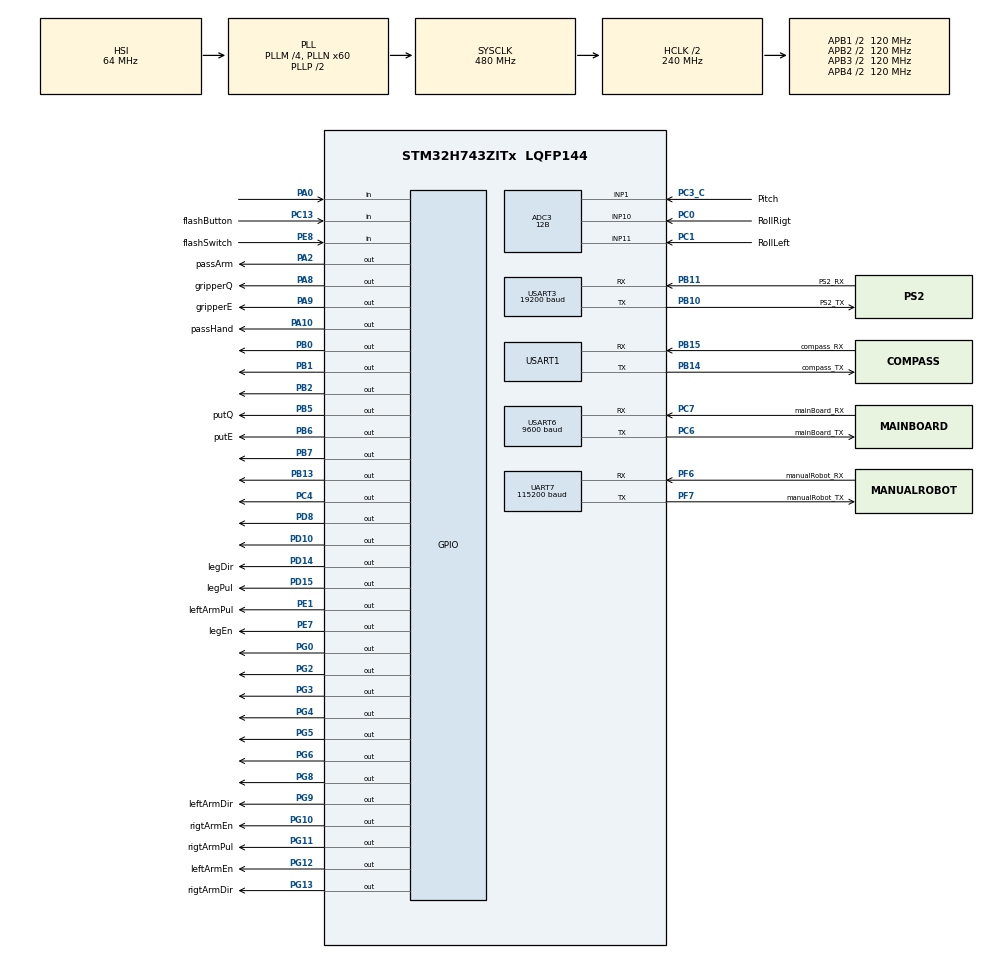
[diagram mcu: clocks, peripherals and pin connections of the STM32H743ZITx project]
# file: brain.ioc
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ADC3.Channel-0\#ChannelRegularConversion=ADC_CHANNEL_1
ADC3.Channel-1\#ChannelRegularConversion=ADC_CHANNEL_10
ADC3.Channel-2\#ChannelRegularConversion=ADC_CHANNEL_11
ADC3.ClockPrescaler=ADC_CLOCK_SYNC_PCLK_DIV4
ADC3.ContinuousConvMode=ENABLE
ADC3.ConversionDataManagement=ADC_CONVERSIONDATA_DMA_CIRCULAR
ADC3.NbrOfConversion=3
ADC3.NbrOfConversionFlag=1
ADC3.OffsetNumber-0\#ChannelRegularConversion=ADC_OFFSET_NONE
ADC3.OffsetNumber-1\#ChannelRegularConversion=ADC_OFFSET_NONE
ADC3.OffsetNumber-2\#ChannelRegularConversion=ADC_OFFSET_NONE
ADC3.Rank-0\#ChannelRegularConversion=1
ADC3.Rank-1\#ChannelRegularConversion=2
ADC3.Rank-2\#ChannelRegularConversion=3
ADC3.Resolution=ADC_RESOLUTION_12B
ADC3.SamplingTime-0\#ChannelRegularConversion=ADC_SAMPLETIME_387CYCLES_5
ADC3.SamplingTime-1\#ChannelRegularConversion=ADC_SAMPLETIME_387CYCLES_5
ADC3.SamplingTime-2\#ChannelRegularConversion=ADC_SAMPLETIME_387CYCLES_5
Dma.ADC3.0.Direction=DMA_PERIPH_TO_MEMORY
Dma.ADC3.0.EventEnable=DISABLE
Dma.ADC3.0.FIFOMode=DMA_FIFOMODE_DISABLE
Dma.ADC3.0.Instance=DMA1_Stream2
Dma.ADC3.0.MemDataAlignment=DMA_MDATAALIGN_HALFWORD
Dma.ADC3.0.MemInc=DMA_MINC_ENABLE
Dma.ADC3.0.Mode=DMA_CIRCULAR
Dma.ADC3.0.PeriphDataAlignment=DMA_PDATAALIGN_HALFWORD
Dma.ADC3.0.PeriphInc=DMA_PINC_DISABLE
Dma.ADC3.0.Polarity=HAL_DMAMUX_REQ_GEN_RISING
Dma.ADC3.0.Priority=DMA_PRIORITY_LOW
Dma.ADC3.0.RequestNumber=1
Dma.ADC3.0.SignalID=NONE
Dma.ADC3.0.SyncEnable=DISABLE
Dma.ADC3.0.SyncPolarity=HAL_DMAMUX_SYNC_NO_EVENT
Dma.ADC3.0.SyncRequestNumber=1
Dma.ADC3.0.SyncSignalID=NONE
Dma.Request0=ADC3
Dma.Request1=USART3_RX
Dma.Request2=USART1_RX
Dma.Request3=UART7_RX
Dma.UART7_RX.3.Direction=DMA_PERIPH_TO_MEMORY
Dma.UART7_RX.3.EventEnable=DISABLE
Dma.UART7_RX.3.FIFOMode=DMA_FIFOMODE_DISABLE
Dma.UART7_RX.3.Instance=DMA1_Stream0
Dma.UART7_RX.3.MemDataAlignment=DMA_MDATAALIGN_BYTE
Dma.UART7_RX.3.MemInc=DMA_MINC_ENABLE
Dma.UART7_RX.3.Mode=DMA_CIRCULAR
Dma.UART7_RX.3.PeriphDataAlignment=DMA_PDATAALIGN_BYTE
Dma.UART7_RX.3.PeriphInc=DMA_PINC_DISABLE
Dma.UART7_RX.3.Polarity=HAL_DMAMUX_REQ_GEN_RISING
Dma.UART7_RX.3.Priority=DMA_PRIORITY_LOW
Dma.UART7_RX.3.RequestNumber=1
Dma.UART7_RX.3.SignalID=NONE
Dma.UART7_RX.3.SyncEnable=DISABLE
Dma.UART7_RX.3.SyncPolarity=HAL_DMAMUX_SYNC_NO_EVENT
Dma.UART7_RX.3.SyncRequestNumber=1
Dma.UART7_RX.3.SyncSignalID=NONE
Dma.USART1_RX.2.Direction=DMA_PERIPH_TO_MEMORY
Dma.USART1_RX.2.EventEnable=DISABLE
Dma.USART1_RX.2.FIFOMode=DMA_FIFOMODE_DISABLE
Dma.USART1_RX.2.Instance=DMA1_Stream3
Dma.USART1_RX.2.MemDataAlignment=DMA_MDATAALIGN_BYTE
Dma.USART1_RX.2.MemInc=DMA_MINC_ENABLE
Dma.USART1_RX.2.Mode=DMA_CIRCULAR
Dma.USART1_RX.2.PeriphDataAlignment=DMA_PDATAALIGN_BYTE
Dma.USART1_RX.2.PeriphInc=DMA_PINC_DISABLE
Dma.USART1_RX.2.Polarity=HAL_DMAMUX_REQ_GEN_RISING
Dma.USART1_RX.2.Priority=DMA_PRIORITY_LOW
Dma.USART1_RX.2.RequestNumber=1
Dma.USART1_RX.2.SignalID=NONE
Dma.USART1_RX.2.SyncEnable=DISABLE
Dma.USART1_RX.2.SyncPolarity=HAL_DMAMUX_SYNC_NO_EVENT
Dma.USART1_RX.2.SyncRequestNumber=1
Dma.USART1_RX.2.SyncSignalID=NONE
Dma.USART3_RX.1.Direction=DMA_PERIPH_TO_MEMORY
Dma.USART3_RX.1.EventEnable=DISABLE
Dma.USART3_RX.1.FIFOMode=DMA_FIFOMODE_DISABLE
Dma.USART3_RX.1.Instance=DMA2_Stream2
Dma.USART3_RX.1.MemDataAlignment=DMA_MDATAALIGN_BYTE
Dma.USART3_RX.1.MemInc=DMA_MINC_ENABLE
Dma.USART3_RX.1.Mode=DMA_CIRCULAR
Dma.USART3_RX.1.PeriphDataAlignment=DMA_PDATAALIGN_BYTE
Dma.USART3_RX.1.PeriphInc=DMA_PINC_DISABLE
Dma.USART3_RX.1.Polarity=HAL_DMAMUX_REQ_GEN_RISING
Dma.USART3_RX.1.Priority=DMA_PRIORITY_LOW
Dma.USART3_RX.1.RequestNumber=1
Dma.USART3_RX.1.SignalID=NONE
Dma.USART3_RX.1.SyncEnable=DISABLE
Dma.USART3_RX.1.SyncPolarity=HAL_DMAMUX_SYNC_NO_EVENT
Dma.USART3_RX.1.SyncRequestNumber=1
Dma.USART3_RX.1.SyncSignalID=NONE
Mcu.Family=STM32H7
Mcu.Name=STM32H743ZITx
Mcu.Package=LQFP144
NVIC.DMA1_Stream0_IRQn=true\:0\:0\:false\:false\:true\:false\:true
NVIC.DMA1_Stream2_IRQn=true\:0\:0\:false\:false\:true\:false\:true
NVIC.DMA1_Stream3_IRQn=true\:0\:0\:false\:false\:true\:false\:true
NVIC.DMA2_Stream2_IRQn=true\:0\:0\:false\:false\:true\:false\:true
NVIC.PriorityGroup=NVIC_PRIORITYGROUP_4
NVIC.TIM7_IRQn=true\:0\:0\:false\:false\:true\:true\:true
NVIC.UART7_IRQn=true\:4\:0\:true\:false\:true\:true\:true
NVIC.USART1_IRQn=true\:1\:0\:true\:false\:true\:true\:true
NVIC.USART6_IRQn=true\:2\:0\:true\:false\:true\:true\:true
PA0.GPIO_PuPd=GPIO_PULLUP
PA0.Signal=GPIO_Input
PA10.GPIO_Label=passHand
PA10.Signal=GPIO_Output
PA2.GPIO_Label=passArm
PA2.Signal=GPIO_Output
PA8.GPIO_Label=gripperQ
PA8.Signal=GPIO_Output
PA9.GPIO_Label=gripperE
PA9.Signal=GPIO_Output
PB0.GPIO_PuPd=GPIO_NOPULL
PB0.Signal=GPIO_Output
PB1.Signal=GPIO_Output
PB10.GPIO_Label=PS2_TX
PB10.Mode=Asynchronous
PB10.Signal=USART3_TX
PB11.GPIO_Label=PS2_RX
PB11.Mode=Asynchronous
PB11.Signal=USART3_RX
PB13.Signal=GPIO_Output
PB14.GPIO_Label=compass_TX
PB14.Mode=Asynchronous
PB14.Signal=USART1_TX
PB15.GPIO_Label=compass_RX
PB15.Mode=Asynchronous
PB15.Signal=USART1_RX
PB2.Signal=GPIO_Output
PB5.GPIO_Label=putQ
PB5.Signal=GPIO_Output
PB6.GPIO_Label=putE
PB6.Signal=GPIO_Output
PB7.Signal=GPIO_Output
PC0.GPIO_Label=RollRigt
PC0.Signal=ADCx_INP10
PC1.GPIO_Label=RollLeft
PC1.Signal=ADCx_INP11
PC13.GPIO_Label=flashButton
PC13.GPIO_PuPd=GPIO_PULLUP
PC13.Signal=GPIO_Input
PC3_C.GPIO_Label=Pitch
PC3_C.Mode=IN1-Single-Ended
PC3_C.Signal=ADC3_INP1
PC4.Signal=GPIO_Output
PC6.GPIO_Label=mainBoard_TX
PC6.Mode=Asynchronous
PC6.Signal=USART6_TX
PC7.GPIO_Label=mainBoard_RX
PC7.Mode=Asynchronous
PC7.Signal=USART6_RX
PD10.Signal=GPIO_Output
PD14.GPIO_Label=legDir
PD14.Signal=GPIO_Output
PD15.GPIO_Label=legPul
PD15.GPIO_Speed=GPIO_SPEED_FREQ_VERY_HIGH
PD15.Signal=GPIO_Output
PD8.Signal=GPIO_Output
PE1.GPIO_Label=leftArmPul
PE1.GPIO_Speed=GPIO_SPEED_FREQ_VERY_HIGH
PE1.Signal=GPIO_Output
PE7.GPIO_Label=legEn
PE7.Signal=GPIO_Output
PE8.GPIO_Label=flashSwitch
PE8.GPIO_PuPd=GPIO_PULLUP
PE8.Signal=GPIO_Input
PF6.GPIO_Label=manualRobot_RX
PF6.Mode=Asynchronous
PF6.Signal=UART7_RX
PF7.GPIO_Label=manualRobot_TX
PF7.Mode=Asynchronous
PF7.Signal=UART7_TX
PG0.GPIO_ModeDefaultOutputPP=GPIO_MODE_OUTPUT_PP
PG0.GPIO_PuPd=GPIO_PULLUP
PG0.Signal=GPIO_Output
PG10.GPIO_Label=rigtArmEn
PG10.Signal=GPIO_Output
PG11.GPIO_Label=rigtArmPul
PG11.Signal=GPIO_Output
PG12.GPIO_Label=leftArmEn
PG12.Signal=GPIO_Output
PG13.GPIO_Label=rigtArmDir
PG13.GPIO_Speed=GPIO_SPEED_FREQ_LOW
PG13.Signal=GPIO_Output
PG2.GPIO_ModeDefaultOutputPP=GPIO_MODE_OUTPUT_PP
PG2.GPIO_PuPd=GPIO_PULLUP
PG2.Signal=GPIO_Output
PG3.GPIO_ModeDefaultOutputPP=GPIO_MODE_OUTPUT_PP
PG3.GPIO_PuPd=GPIO_PULLUP
PG3.Signal=GPIO_Output
PG4.GPIO_Speed=GPIO_SPEED_FREQ_VERY_HIGH
PG4.Signal=GPIO_Output
PG5.GPIO_Speed=GPIO_SPEED_FREQ_VERY_HIGH
PG5.Signal=GPIO_Output
PG6.GPIO_Speed=GPIO_SPEED_FREQ_VERY_HIGH
PG6.Signal=GPIO_Output
PG8.GPIO_Speed=GPIO_SPEED_FREQ_VERY_HIGH
PG8.Signal=GPIO_Output
PG9.GPIO_Label=leftArmDir
PG9.Signal=GPIO_Output
ProjectManager.HeapSize=0x200
ProjectManager.StackSize=0x400
ProjectManager.TargetToolchain=STM32CubeIDE
RCC.ADCFreq_Value=150000000
RCC.APB1Freq_Value=120000000
RCC.APB2Freq_Value=120000000
RCC.APB3Freq_Value=120000000
RCC.APB4Freq_Value=120000000
RCC.CortexFreq_Value=480000000
RCC.D1PPRE=RCC_APB3_DIV2
RCC.D2PPRE1=RCC_APB1_DIV2
RCC.D2PPRE2=RCC_APB2_DIV2
RCC.D3PPRE=RCC_APB4_DIV2
RCC.DIVM1=4
RCC.DIVM2=4
RCC.DIVN1=60
RCC.DIVN2=9
RCC.DIVP2=1
RCC.HCLKFreq_Value=240000000
RCC.HPRE=RCC_HCLK_DIV2
RCC.PLL2FRACN=3072
RCC.PLL3FRACN=0
RCC.PLLFRACN=0
RCC.SYSCLKFreq_VALUE=480000000
RCC.SYSCLKSource=RCC_SYSCLKSOURCE_PLLCLK
RCC.USBFreq_Value=480000000
SH.ADCx_INP10.0=ADC3_INP10,IN10-Single-Ended
SH.ADCx_INP11.0=ADC3_INP11,IN11-Single-Ended
TIM7.Period=999
TIM7.Prescaler=2399
UART7.BaudRate=115200
USART1.VirtualMode-Asynchronous=VM_ASYNC
USART3.BaudRate=19200
USART3.VirtualMode-Asynchronous=VM_ASYNC
USART6.BaudRate=9600
USART6.VirtualMode-Asynchronous=VM_ASYNC
VP_TIM7_VS_ClockSourceINT.Mode=Enable_Timer
board=custom

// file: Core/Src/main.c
/* USER CODE BEGIN Header */
/**
  ******************************************************************************
  * @file           : main.c
  * @brief          : Main program body
  ******************************************************************************
  * @attention
  *
  * <h2><center>&copy; Copyright (c) 2020 STMicroelectronics.
  * All rights reserved.</center></h2>
  *
  * This software component is licensed by ST under BSD 3-Clause license,
  * the "License"; You may not use this file except in compliance with the
  * License. You may obtain a copy of the License at:
  *                        opensource.org/licenses/BSD-3-Clause
  *
  ******************************************************************************
  */
//#define BLUEFIELD
#define REDFIELD
/* USER CODE END Header */

#include "main.h"

/* USER CODE BEGIN Includes */
#include <stdlib.h>
/* USER CODE END Includes */

ADC_HandleTypeDef hadc3;
DMA_HandleTypeDef hdma_adc3;

TIM_HandleTypeDef htim7;

UART_HandleTypeDef huart7;
UART_HandleTypeDef huart1;
UART_HandleTypeDef huart3;
UART_HandleTypeDef huart6;
DMA_HandleTypeDef hdma_uart7_rx;
DMA_HandleTypeDef hdma_usart1_rx;
DMA_HandleTypeDef hdma_usart3_rx;

void SystemClock_Config(void);
static void MX_GPIO_Init(void);
static void MX_DMA_Init(void);
static void MX_ADC3_Init(void);
static void MX_USART1_UART_Init(void);
static void MX_USART3_UART_Init(void);
static void MX_TIM7_Init(void);
static void MX_UART7_Init(void);
static void MX_USART6_UART_Init(void);

/* USER CODE BEGIN 0 */
#include "DNL_SemiAuto_Brain_DebugVariable.h"
#include "DNL_SemiAuto_Brain_DelayUs.h"
#include "DNL_SemiAuto_Brain_UART.h"
#include "DNL_SemiAuto_Brain_LCD.h"
#include "DNL_SemiAuto_Brain_ADC.h"
#include "DNL_SemiAuto_Brain_PID.h"
#include "DNL_SemiAuto_Brain_Position.h"
#include "DNL_SemiAuto_Brain_Leg.h"
#include "DNL_SemiAuto_Brain_FLASH.h"
#include "DNL_SemiAuto_Brain_Cylinder.h"
#include "DNL_SemiAuto_Brain_Sequence.h"

#include "DNL_Callback.h"
/* USER CODE END 0 */

int main(void)
{

  /* MCU Configuration--------------------------------------------------------*/

  /* Reset of all peripherals, Initializes the Flash interface and the Systick. */
  HAL_Init();

  /* Configure the system clock */
  SystemClock_Config();

  /* Initialize all configured peripherals */
  MX_GPIO_Init();
  MX_DMA_Init();
  MX_ADC3_Init();
  MX_USART1_UART_Init();
  MX_USART3_UART_Init();
  MX_TIM7_Init();
  MX_UART7_Init();
  MX_USART6_UART_Init();
  /* USER CODE BEGIN 2 */

  delayUs_Init();
  peripheralUART_Init();
  peripheralADC_Init();
  positionControl_Init();
  cylinder_Init();
  ST7920_Init();
  brake();
  freeMotor();
  compassReset();
  HAL_GPIO_WritePin(GPIOB, GPIO_PIN_0, GPIO_PIN_RESET);
  HAL_GPIO_WritePin(GPIOE, GPIO_PIN_1, GPIO_PIN_SET);

  if(HAL_GPIO_ReadPin(flashSwitch_GPIO_Port, flashSwitch_Pin) == 0)	//nếu như gạt phải khởi động
  {
	  ST7920_SendString(0,0, "SAMPLE:");
	  getSample();
	  while(HAL_GPIO_ReadPin(flashSwitch_GPIO_Port, flashSwitch_Pin) == 0)	//ch�? gạt phải
	  {
		  ST7920_SendString(0,0, "PLEASE SWITCH");
		  HAL_Delay(1000);
		  ST7920_Clear();
		  HAL_Delay(1000);
	  }
	  while(1)
	  {
		  tracking++;
		  ST7920_SendString(0,0, "PLEASE RESET");
		  HAL_GPIO_TogglePin(GPIOE, GPIO_PIN_1);
		  HAL_Delay(500);
		  ST7920_Clear();
		  HAL_Delay(500);
	  }
  }
  else	// nếu như gạt trái HAL_Read == 1
  {
	  ST7920_SendString(0,0, "FREE MODE");
	  tracking = 148;
	  readFLASH();
	  tracking = 150;
  }
  HAL_GPIO_WritePin(GPIOE, GPIO_PIN_1, GPIO_PIN_RESET);
  HAL_Delay(INIT_TIME);
  if(btn_Sta == 0)
  {
	  while(1)
	  {
		  ST7920_SendString(0, 0, "disconBluetooth");
		  ST7920_SendString(1, 0, "pleaseReset");
		  HAL_Delay(500);
		  ST7920_Clear();
		  HAL_Delay(500);

	  }
  }
  /* USER CODE END 2 */

  /* Infinite loop */
  /* USER CODE BEGIN WHILE */

#ifdef BLUEFIELD
	while (1)
	{
	/////////////////////////////////////////////////////////////////////////////////////////////////////////////////////////////////////////////////
	  wait4SelectMode();
	  if(startMode == TO_SHOOT)
	  {

		  passArm(PASSARM_UP);
		  passHand(PASSHAND_OPEN);
		  startTime = HAL_GetTick();
		  ST7920_SendString(0,0, "btn_Sel waiting");
		  while((btn_Sel==1)&&(HAL_GetTick()-startTime<4700))
		  {
			  ST7920_Clear();
			  ST7920_SendString(0, 0, "autotuning");
			  roL_Pit_Yaw_GoTo(1200, 3700, 900);
		  }
		  startTime = HAL_GetTick();
		  while(HAL_GetTick()-startTime<1000)
		  {
			  ST7920_SendString(0, 0, "cross");
			  goCross(100, 2, 900);
		  }
		  ST7920_SendString(0,0, "btn_X   waiting");
		  while(btn_X==1)
		  {
			  ST7920_Clear();
			  ST7920_SendString(0, 0, "finish");
			  roL_Pit_Yaw_GoTo(2500,1500,900);
		  }
		  while(btn_Sel == 1)
		  {

//			  PIDyaw(compassData, 1250);
			  controlMotor1(-10);
			  controlMotor2(-10);
			  controlMotor3(-10);
			  controlMotor4(-10);
			  spinalCordTrans();
		  }
//		  ST7920_Clear();
//		  ST7920_SendString(0, 0, "ready2Put Q");
//		  ST7920_SendString(1, 0, "AIMING");
//		  ST7920_SendString(2, 0, "btn_Q waiting");
//		  while(btn_Q!=0)	//khi chưa nhấn nút Q;
//		  {
//			  if((btn_leftLeft==1)&&(btn_leftRigt==1))	//khi chưa nhấn 2 nút < và >
//			  {
//				  brake();
//			  }
//			  else if((btn_leftLeft==0)&&(btn_leftRigt==0))	//khi nhấn < + >
//			  {
//				  brake();
//			  }
//			  else if((btn_leftLeft==0)&&(btn_leftRigt==1))	//khi nhấn <
//			  {
//				  controlMotor1(turnSpeed);
//				  controlMotor2(turnSpeed);
//				  controlMotor3(turnSpeed);
//				  controlMotor4(turnSpeed);
//				  spinalCordTrans();
//			  }
//			  else if((btn_leftLeft==1)&&(btn_leftRigt==0))	//khi nhấn >
//			  {
//				  controlMotor1(-turnSpeed);
//				  controlMotor2(-turnSpeed);
//				  controlMotor3(-turnSpeed);
//				  controlMotor4(-turnSpeed);
//				  spinalCordTrans();
//			  }
//		  }
//		  ST7920_SendString(2,0,"              ");
//		  ST7920_SendString(2,0,"PUTTING Q");
//		  putQ(PUTQ_DOWN);//hạ putQ
//		  HAL_Delay(1000);//ch�? ...s
//		  gripperQ(GRIPPERQ_OPEN);//mở gripperQ
//		  HAL_Delay(500);//ch�? ...s
//		  while((btn_A==1)&&(btn_E==1))
//		  {
//			  ST7920_SendString(1, 0, "                ");
//			  ST7920_SendString(2, 0, "                ");
//			  ST7920_SendString(2, 0, "A or E");
//		  }
//		  if(btn_A == 0)
//		  {
//			  ST7920_Clear();
//			  ST7920_SendString(0,0,"SHOOT!!!!");
//			  legShoot();//shoot
//			  HAL_Delay(500);
//		  }
//		  else if(btn_E == 0)
//		  {
//		  }
//		  putQ(PUTQ_UP);//nâng putQ
//		  HAL_Delay(500);
//		  gripperQ(GRIPPERQ_CLOSE);//đóng gripperQ
//	//		  HAL_Delay(1000);//ch�? ...s
//		  ST7920_Clear();
//		  ST7920_SendString(0, 0, "ready2Put E");
//		  ST7920_SendString(1, 0, "AIMING");
//		  ST7920_SendString(2, 0, "btn_E waiting");
		  while(btn_E==1)	//khi chưa nhấn E
		  {

			  if((btn_leftLeft==1)&&(btn_leftRigt==1))	//khi chưa nhấn 2 nút < và >
			  {
				  brake();
				  HAL_Delay(300);
				  freeMotor();
			  }
			  else if((btn_leftLeft==0)&&(btn_leftRigt==0))	//khi nhấn < + >
			  {
				  brake();
				  HAL_Delay(300);
				  freeMotor();
			  }
			  else if((btn_leftLeft==0)&&(btn_leftRigt==1))	//khi nhấn <
			  {
				  controlMotor1(turnSpeed);
				  controlMotor2(turnSpeed);
				  controlMotor3(turnSpeed);
				  controlMotor4(turnSpeed);
				  spinalCordTrans();
			  }
			  else if((btn_leftLeft==1)&&(btn_leftRigt==0))	//khi nhấn >
			  {
				  controlMotor1(-turnSpeed);
				  controlMotor2(-turnSpeed);
				  controlMotor3(-turnSpeed);
				  controlMotor4(-turnSpeed);
				  spinalCordTrans();
			  }
		  }
		  ST7920_SendString(2,0,"              ");
		  ST7920_SendString(2,0,"PUTTING E");
		  putE(PUTE_DOWN);//hạ putE
		  HAL_Delay(1000);//ch�? ...s
		  gripperE(GRIPPERE_OPEN);//mở gripperE
	//		  HAL_Delay(500);//ch�? ...s
		  while((btn_A == 1)&&(btn_Q == 1))
		  {
			  ST7920_SendString(1, 0, "                ");
			  ST7920_SendString(2, 0, "                ");
			  ST7920_SendString(2, 0, "A or E");
		  }
		  if(btn_A == 0)
		  {
			  ST7920_Clear();
			  ST7920_SendString(0,0,"SHOOT!!!!");
			  legShoot();//shoot
			  HAL_Delay(500);
		  }
		  else if(btn_E == 0)
		  {
		  }
		  ST7920_Clear();
		  ST7920_SendString(0,0,"SHOOTED");
		  putE(PUTE_UP);//nâng putE
		  HAL_Delay(500);
		  gripperE(GRIPPERE_CLOSE);//đóng gripperE
	//		  while(btn_Sel==1)//khi chưa nhấn Sel
	//		  {
	//			  roL_Pit_Yaw_Goto(posRoL, posPit, -900);
	//		  }
		  MAX_PIT_PID = 100;
		  MAX_ROL_PID = 100;
		  MAX_ROR_PID = 100;
		  startTime = HAL_GetTick();
		  while(HAL_GetTick()-startTime < 500)
		  {
			  ST7920_Clear();

			  PIDyaw(compassData, 0);
			  controlMotor1(yawPID);
			  controlMotor2(yawPID);
			  controlMotor3(yawPID);
			  controlMotor4(yawPID);
			  spinalCordTrans();
		  }
		  while(btn_Sel == 1)
		  {
			  roR_Pit_Yaw_GoTo(1200, 3700, 900);
		  }
		  startTime = HAL_GetTick();
		  while(HAL_GetTick() - startTime < 500)
		  {
			  goCross(100, 1, 900);
		  }
		  startTime = HAL_GetTick();
		  while(HAL_GetTick()-startTime<300)
		  {
			  roR_Pit_Yaw_GoTo(1000, 400, 900);
		  }
		  startTime = HAL_GetTick();
		  while(HAL_GetTick() - startTime <800)
		  {
			  PIDyaw(compassData,0);
			  controlMotor1(yawPID);
			  controlMotor2(yawPID);
			  controlMotor3(yawPID);
			  controlMotor4(yawPID);
			  spinalCordTrans();
		  }
	  }
	  else if(startMode == BALL1)
	  {
		  goToBallLeft(ball1);
	  }
	  else if(startMode == BALL2)
	  {
		  goToBallLeft(ball2);
	  }
	  else if(startMode == BALL3)
	  {
		  goToBallLeft(ball3);
	  }
	  else if(startMode == BALL4)
	  {
		  goToBallLeft(ball4);
	  }
	  else if(startMode == LOAD_BALL)	//v�? vị trí load ball
	  {
		  passArm(PASSARM_UP);
		  startTime = HAL_GetTick();
		  while(HAL_GetTick()-startTime<2000)
		  {
			  roL_Pit_Yaw_GoTo(600, 500, 0);
		  }
		  ST7920_SendString(3, 0, "                ");
		  ST7920_SendString(3, 0, "returning2-900d");
		  startTime = HAL_GetTick();
		  while(((compassData-(900))>=10)&&((HAL_GetTick()-startTime)<800))//chưa đủ góc->hiệu chỉnh xoay đến -900
		  {
			  PIDyaw(compassData, 900);
			  controlMotor1(yawPID);
			  controlMotor2(yawPID);
			  controlMotor3(yawPID);
			  controlMotor4(yawPID);
			  spinalCordTrans();
			  if(abs(compassData-(900))<10)
			  {
				  brake();
				  HAL_Delay(DEBOUNCE_MOVING_TIME);
			  }
		  }
		  ST7920_Clear();

		  ST7920_SendString(2, 0, "Sel");
		  ST7920_SendString(3, 0, "autTningStaPoint");
		  while(btn_Sel!= 0)//chưa nhấn nút Sel -> hiệu chỉnh tự động
		  {
			  roL_Pit_Yaw_GoTo(350, 250, 900);
		  }
		  ST7920_Clear();
		  ST7920_SendString(2, 0, "btnX ");
		  ST7920_SendString(3, 0, "manualTuning");
		  while(btn_X!=0)//chưa nhấn nút X	->hiệu chỉnh vị trí
		  {
			  PIDyaw(compassData, 900);
			  leftVer = !btn_leftUp - !btn_leftDown;
			  leftHor = -!btn_leftLeft + !btn_leftRigt;
			  _dir = atan2(leftHor, -leftVer);
			  _controlSpeed = sqrt(leftVer*leftVer + leftHor*leftHor);
			  _motor1Speed = yawPID*factorYawPID + (factorSpeed*_controlSpeed *cos(3*M_PI/4 - _dir) + 0);
			  _motor2Speed = yawPID*factorYawPID + (factorSpeed*_controlSpeed *cos(3*M_PI/4 + _dir) - 0);
			  _motor3Speed = yawPID*factorYawPID +  factorSpeed*_controlSpeed *cos(  M_PI/4 + _dir) + 0;
			  _motor4Speed = yawPID*factorYawPID +  factorSpeed*_controlSpeed *cos(  M_PI/4 - _dir) - 0;
			  controlMotor1(_motor1Speed);
			  controlMotor2(_motor2Speed);
			  controlMotor3(_motor3Speed);
			  controlMotor4(_motor4Speed);
			  spinalCordTrans();
		  }
		  brake();
		  ST7920_Clear();
		  ST7920_SendString(2, 0, "Sel");
		  ST7920_SendString(3, 0, "loadingBall");
		  while(btn_Sel == 1)	//khi chưa nhấn nút Sel
		  {
			  gripperE(GRIPPERE_CLOSE);
			  gripperQ(GRIPPERQ_CLOSE);
		  }
	  }
	  else if(startMode == MANUAL_MODE)
	  {
		  manualMode();
	  }
	/////////////////////////////////////////////////////////////////////////////////////////////////////////////////////////////////////////////////
	/////////////test shoot/////////////////////////////////////////////
	//	while(HAL_GPIO_ReadPin(flashSwitch_GPIO_Port, flashSwitch_Pin)==preFlashSwitch)	//trong khi còn gạt trái
	//	{
	////		tracking=423;
	//	}
	//	for(int i = 0; i< 2600; ++i)
	//	{
	//		HAL_GPIO_WritePin(legEn_GPIO_Port, legEn_Pin, GPIO_PIN_RESET);
	//		HAL_GPIO_TogglePin(legPul_GPIO_Port, legPul_Pin);
	//		delayUs(8);
	//		tracking++;
	//	}
	//	tracking++;
	//	preFlashSwitch = HAL_GPIO_ReadPin(flashSwitch_GPIO_Port, flashSwitch_Pin);
	//	  legControl(LEG_STATUS_RUNUP);
	//	  HAL_Delay(5000);
	//	  while(1);
	//	  legShoot();
	//	  HAL_Delay(1000);
	//	  legControl(LEG_STATUS_RUNUP2);
	//	  HAL_Delay(1000);
	//	  legControl(legEnd);
	//	  HAL_Delay(3000);
	//
	//	  HAL_GPIO_WritePin(legEn_GPIO_Port, legEn_Pin, GPIO_PIN_RESET);	//enable legEn Pin
	//	  HAL_GPIO_WritePin(legDir_GPIO_Port, legDir_Pin, legBackward);
	//	  HAL_Delay(50);
	//	  for(int i = 0; i < LEG_PUL_SHOOT; ++i)
	//	  {
	//		  HAL_GPIO_WritePin(legPul_GPIO_Port, legPul_Pin, GPIO_PIN_SET);
	//		  delayUs(120);
	//		  HAL_GPIO_WritePin(legPul_GPIO_Port, legPul_Pin, GPIO_PIN_RESET);
	//		  delayUs(120);
	//		  trackingLegShoot++;
	//	  }

	///////////////////////////////////////////////////////////////////////
	/* USER CODE END WHILE */

		}
	}
#endif

#ifdef REDFIELD
while (1)
{
/////////////////////////////////////////////////////////////////////////////////////////////////////////////////////////////////////////////////
  wait4SelectMode();
  if(startMode == TO_SHOOT)
  {

	  passArm(PASSARM_UP);
	  passHand(PASSHAND_OPEN);
	  startTime = HAL_GetTick();
	  ST7920_SendString(0,0, "btn_Sel waiting");
	  while((btn_Sel==1)&&(HAL_GetTick()-startTime<4700))
	  {
		  ST7920_Clear();
		  ST7920_SendString(0, 0, "autotuning");
		  roR_Pit_Yaw_GoTo(1400, 3500, -900);
	  }
	  startTime = HAL_GetTick();
	  while(HAL_GetTick()-startTime<1000)
	  {
		  ST7920_SendString(0, 0, "cross");
		  goCross(100, 1, -900);
	  }
	  ST7920_SendString(0,0, "btn_X   waiting");
	  while(btn_X==1)
	  {
		  ST7920_Clear();
		  ST7920_SendString(0, 0, "finish");
		  roL_Pit_Yaw_GoTo(1300,1600,-900);
	  }
	  while(btn_Sel == 1)
	  {
//		  PIDyaw(compassData, -1200);
		  controlMotor1(8);
		  controlMotor2(8);
		  controlMotor3(8);
		  controlMotor4(8);
		  spinalCordTrans();
	  }
	  ST7920_Clear();
	  ST7920_SendString(0, 0, "ready2Put Q");
	  ST7920_SendString(1, 0, "AIMING");
	  ST7920_SendString(2, 0, "btn_Q waiting");
	  while(btn_E==1)	//khi chưa nhấn E
	  {

		  if((btn_leftLeft==1)&&(btn_leftRigt==1))	//khi chưa nhấn 2 nút < và >
		  {
			  brake();
			  HAL_Delay(300);
			  freeMotor();
		  }
		  else if((btn_leftLeft==0)&&(btn_leftRigt==0))	//khi nhấn < + >
		  {
			  brake();
			  HAL_Delay(300);
			  freeMotor();
		  }
		  else if((btn_leftLeft==0)&&(btn_leftRigt==1))	//khi nhấn <
		  {
			  controlMotor1(turnSpeed);
			  controlMotor2(turnSpeed);
			  controlMotor3(turnSpeed);
			  controlMotor4(turnSpeed);
			  spinalCordTrans();
		  }
		  else if((btn_leftLeft==1)&&(btn_leftRigt==0))	//khi nhấn >
		  {
			  controlMotor1(-turnSpeed);
			  controlMotor2(-turnSpeed);
			  controlMotor3(-turnSpeed);
			  controlMotor4(-turnSpeed);
			  spinalCordTrans();
		  }
	  }
	  ST7920_SendString(2,0,"              ");
	  ST7920_SendString(2,0,"PUTTING E");
	  putE(PUTE_DOWN);//hạ putE
	  HAL_Delay(1000);//ch�? ...s
	  gripperE(GRIPPERE_OPEN);//mở gripperE
//		  HAL_Delay(500);//ch�? ...s
	  while((btn_A == 1)&&(btn_Q == 1))
	  {
		  ST7920_SendString(1, 0, "                ");
		  ST7920_SendString(2, 0, "                ");
		  ST7920_SendString(2, 0, "A or E");
	  }
	  if(btn_A == 0)
	  {
		  ST7920_Clear();
		  ST7920_SendString(0,0,"SHOOT!!!!");
		  legShoot();//shoot
		  HAL_Delay(500);
	  }
	  else if(btn_E == 0)
	  {
	  }
	  ST7920_Clear();
	  ST7920_SendString(0,0,"SHOOTED");
	  putE(PUTE_UP);//nâng putE
	  HAL_Delay(500);
	  gripperE(GRIPPERE_CLOSE);//đóng gripperE
//		  while(btn_Sel==1)//khi chưa nhấn Sel
//		  {
//			  roL_Pit_Yaw_Goto(posRoL, posPit, -900);
//		  }
	  MAX_PIT_PID = 100;
	  MAX_ROL_PID = 100;
	  MAX_ROR_PID = 100;
	  startTime = HAL_GetTick();
//	  while(HAL_GetTick()-startTime < 500)
//	  {
//		  ST7920_Clear();
//
//		  PIDyaw(compassData, 0);
//		  controlMotor1(yawPID);
//		  controlMotor2(yawPID);
//		  controlMotor3(yawPID);
//		  controlMotor4(yawPID);
//		  spinalCordTrans();
//	  }
	  while(btn_Sel == 1)
	  {
		  roL_Pit_Yaw_GoTo(1200, 3700, -900);
	  }
	  startTime = HAL_GetTick();
	  while(HAL_GetTick() - startTime < 500)
	  {
		  goCross(100, 2, -900);
	  }
	  startTime = HAL_GetTick();
	  while(HAL_GetTick()-startTime<300)
	  {
		  roR_Pit_Yaw_GoTo(1000, 400, -900);
	  }
	  startTime = HAL_GetTick();
	  while(HAL_GetTick() - startTime <800)
	  {
		  PIDyaw(compassData,0);
		  controlMotor1(yawPID);
		  controlMotor2(yawPID);
		  controlMotor3(yawPID);
		  controlMotor4(yawPID);
		  spinalCordTrans();
	  }
  }
  else if(startMode == BALL1)
  {
	  goToBallRigt(ball1);
  }
  else if(startMode == BALL2)
  {
	  goToBallRigt(ball2);
  }
  else if(startMode == BALL3)
  {
	  goToBallRigt(ball3);
  }
  else if(startMode == BALL4)
  {
	  goToBallRigt(ball4);
  }
  else if(startMode == LOAD_BALL)	//v�? vị trí load ball
  {
	  passArm(PASSARM_UP);
	  startTime = HAL_GetTick();
	  while(HAL_GetTick()-startTime<2000)
	  {
		  roR_Pit_Yaw_GoTo(600, 500, 0);
	  }
	  ST7920_SendString(3, 0, "                ");
	  ST7920_SendString(3, 0, "returning2-900d");
	  startTime = HAL_GetTick();
	  while(((compassData-(900))>=10)&&((HAL_GetTick()-startTime)<800))//chưa đủ góc->hiệu chỉnh xoay đến -900
	  {
		  PIDyaw(compassData, -900);
		  controlMotor1(yawPID);
		  controlMotor2(yawPID);
		  controlMotor3(yawPID);
		  controlMotor4(yawPID);
		  spinalCordTrans();
		  if(abs(compassData-(-900))<10)
		  {
			  brake();
			  HAL_Delay(DEBOUNCE_MOVING_TIME);
		  }
	  }
	  ST7920_Clear();

	  ST7920_SendString(2, 0, "Sel");
	  ST7920_SendString(3, 0, "autTningStaPoint");
	  while(btn_Sel!= 0)//chưa nhấn nút Sel -> hiệu chỉnh tự động
	  {
		  roR_Pit_Yaw_GoTo(350, 250, -900);
	  }
	  ST7920_Clear();
	  ST7920_SendString(2, 0, "btnX ");
	  ST7920_SendString(3, 0, "manualTuning");
	  while(btn_X!=0)//chưa nhấn nút X	->hiệu chỉnh vị trí
	  {
		  PIDyaw(compassData, -900);
		  leftVer = !btn_leftUp - !btn_leftDown;
		  leftHor = -!btn_leftLeft + !btn_leftRigt;
		  _dir = atan2(leftHor, -leftVer);
		  _controlSpeed = sqrt(leftVer*leftVer + leftHor*leftHor);
		  _motor1Speed = yawPID*factorYawPID + (factorSpeed*_controlSpeed *cos(3*M_PI/4 - _dir) + 0);
		  _motor2Speed = yawPID*factorYawPID + (factorSpeed*_controlSpeed *cos(3*M_PI/4 + _dir) - 0);
		  _motor3Speed = yawPID*factorYawPID +  factorSpeed*_controlSpeed *cos(  M_PI/4 + _dir) + 0;
		  _motor4Speed = yawPID*factorYawPID +  factorSpeed*_controlSpeed *cos(  M_PI/4 - _dir) - 0;
		  controlMotor1(_motor1Speed);
		  controlMotor2(_motor2Speed);
		  controlMotor3(_motor3Speed);
		  controlMotor4(_motor4Speed);
		  spinalCordTrans();
	  }
	  brake();
	  ST7920_Clear();
	  ST7920_SendString(2, 0, "Sel");
	  ST7920_SendString(3, 0, "loadingBall");
	  while(btn_Sel == 1)	//khi chưa nhấn nút Sel
	  {
		  gripperE(GRIPPERE_CLOSE);
		  gripperQ(GRIPPERQ_CLOSE);
	  }

  }
  else if(startMode == MANUAL_MODE)
  {
	  manualMode();
  }

///////////////////////////////////////////////////////////////////////
/* USER CODE END WHILE */

	}
}
#endif
void SystemClock_Config(void)
{
  RCC_OscInitTypeDef RCC_OscInitStruct = {0};
  RCC_ClkInitTypeDef RCC_ClkInitStruct = {0};
  RCC_PeriphCLKInitTypeDef PeriphClkInitStruct = {0};

  /** Supply configuration update enable
  */
  HAL_PWREx_ConfigSupply(PWR_LDO_SUPPLY);
  /** Configure the main internal regulator output voltage
  */
  __HAL_PWR_VOLTAGESCALING_CONFIG(PWR_REGULATOR_VOLTAGE_SCALE0);

  while(!__HAL_PWR_GET_FLAG(PWR_FLAG_VOSRDY)) {}
  /** Initializes the CPU, AHB and APB busses clocks
  */
  RCC_OscInitStruct.OscillatorType = RCC_OSCILLATORTYPE_HSI;
  RCC_OscInitStruct.HSIState = RCC_HSI_DIV1;
  RCC_OscInitStruct.HSICalibrationValue = RCC_HSICALIBRATION_DEFAULT;
  RCC_OscInitStruct.PLL.PLLState = RCC_PLL_ON;
  RCC_OscInitStruct.PLL.PLLSource = RCC_PLLSOURCE_HSI;
  RCC_OscInitStruct.PLL.PLLM = 4;
  RCC_OscInitStruct.PLL.PLLN = 60;
  RCC_OscInitStruct.PLL.PLLP = 2;
  RCC_OscInitStruct.PLL.PLLQ = 2;
  RCC_OscInitStruct.PLL.PLLR = 2;
  RCC_OscInitStruct.PLL.PLLRGE = RCC_PLL1VCIRANGE_3;
  RCC_OscInitStruct.PLL.PLLVCOSEL = RCC_PLL1VCOWIDE;
  RCC_OscInitStruct.PLL.PLLFRACN = 0;
  if (HAL_RCC_OscConfig(&RCC_OscInitStruct) != HAL_OK)
  {
    Error_Handler();
  }
  /** Initializes the CPU, AHB and APB busses clocks
  */
  RCC_ClkInitStruct.ClockType = RCC_CLOCKTYPE_HCLK|RCC_CLOCKTYPE_SYSCLK
                              |RCC_CLOCKTYPE_PCLK1|RCC_CLOCKTYPE_PCLK2
                              |RCC_CLOCKTYPE_D3PCLK1|RCC_CLOCKTYPE_D1PCLK1;
  RCC_ClkInitStruct.SYSCLKSource = RCC_SYSCLKSOURCE_PLLCLK;
  RCC_ClkInitStruct.SYSCLKDivider = RCC_SYSCLK_DIV1;
  RCC_ClkInitStruct.AHBCLKDivider = RCC_HCLK_DIV2;
  RCC_ClkInitStruct.APB3CLKDivider = RCC_APB3_DIV2;
  RCC_ClkInitStruct.APB1CLKDivider = RCC_APB1_DIV2;
  RCC_ClkInitStruct.APB2CLKDivider = RCC_APB2_DIV2;
  RCC_ClkInitStruct.APB4CLKDivider = RCC_APB4_DIV2;

  if (HAL_RCC_ClockConfig(&RCC_ClkInitStruct, FLASH_LATENCY_4) != HAL_OK)
  {
    Error_Handler();
  }
  PeriphClkInitStruct.PeriphClockSelection = RCC_PERIPHCLK_USART3|RCC_PERIPHCLK_UART7
                              |RCC_PERIPHCLK_USART6|RCC_PERIPHCLK_USART1;
  PeriphClkInitStruct.Usart234578ClockSelection = RCC_USART234578CLKSOURCE_D2PCLK1;
  PeriphClkInitStruct.Usart16ClockSelection = RCC_USART16CLKSOURCE_D2PCLK2;
  if (HAL_RCCEx_PeriphCLKConfig(&PeriphClkInitStruct) != HAL_OK)
  {
    Error_Handler();
  }
}

static void MX_ADC3_Init(void)
{

  ADC_ChannelConfTypeDef sConfig = {0};

  /** Common config
  */
  hadc3.Instance = ADC3;
  hadc3.Init.ClockPrescaler = ADC_CLOCK_SYNC_PCLK_DIV4;
  hadc3.Init.Resolution = ADC_RESOLUTION_12B;
  hadc3.Init.ScanConvMode = ADC_SCAN_ENABLE;
  hadc3.Init.EOCSelection = ADC_EOC_SINGLE_CONV;
  hadc3.Init.LowPowerAutoWait = DISABLE;
  hadc3.Init.ContinuousConvMode = ENABLE;
  hadc3.Init.NbrOfConversion = 3;
  hadc3.Init.DiscontinuousConvMode = DISABLE;
  hadc3.Init.ExternalTrigConv = ADC_SOFTWARE_START;
  hadc3.Init.ExternalTrigConvEdge = ADC_EXTERNALTRIGCONVEDGE_NONE;
  hadc3.Init.ConversionDataManagement = ADC_CONVERSIONDATA_DMA_CIRCULAR;
  hadc3.Init.Overrun = ADC_OVR_DATA_PRESERVED;
  hadc3.Init.LeftBitShift = ADC_LEFTBITSHIFT_NONE;
  hadc3.Init.OversamplingMode = DISABLE;
  if (HAL_ADC_Init(&hadc3) != HAL_OK)
  {
    Error_Handler();
  }
  /** Configure Regular Channel
  */
  sConfig.Channel = ADC_CHANNEL_1;
  sConfig.Rank = ADC_REGULAR_RANK_1;
  sConfig.SamplingTime = ADC_SAMPLETIME_387CYCLES_5;
  sConfig.SingleDiff = ADC_SINGLE_ENDED;
  sConfig.OffsetNumber = ADC_OFFSET_NONE;
  sConfig.Offset = 0;
  if (HAL_ADC_ConfigChannel(&hadc3, &sConfig) != HAL_OK)
  {
    Error_Handler();
  }
  /** Configure Regular Channel
  */
  sConfig.Channel = ADC_CHANNEL_10;
  sConfig.Rank = ADC_REGULAR_RANK_2;
  if (HAL_ADC_ConfigChannel(&hadc3, &sConfig) != HAL_OK)
  {
    Error_Handler();
  }
  /** Configure Regular Channel
  */
  sConfig.Channel = ADC_CHANNEL_11;
  sConfig.Rank = ADC_REGULAR_RANK_3;
  if (HAL_ADC_ConfigChannel(&hadc3, &sConfig) != HAL_OK)
  {
    Error_Handler();
  }

}

static void MX_TIM7_Init(void)
{

  TIM_MasterConfigTypeDef sMasterConfig = {0};

  htim7.Instance = TIM7;
  htim7.Init.Prescaler = 2399;
  htim7.Init.CounterMode = TIM_COUNTERMODE_UP;
  htim7.Init.Period = 999;
  htim7.Init.AutoReloadPreload = TIM_AUTORELOAD_PRELOAD_DISABLE;
  if (HAL_TIM_Base_Init(&htim7) != HAL_OK)
  {
    Error_Handler();
  }
  sMasterConfig.MasterOutputTrigger = TIM_TRGO_RESET;
  sMasterConfig.MasterSlaveMode = TIM_MASTERSLAVEMODE_DISABLE;
  if (HAL_TIMEx_MasterConfigSynchronization(&htim7, &sMasterConfig) != HAL_OK)
  {
    Error_Handler();
  }

}

static void MX_UART7_Init(void)
{

  huart7.Instance = UART7;
  huart7.Init.BaudRate = 115200;
  huart7.Init.WordLength = UART_WORDLENGTH_8B;
  huart7.Init.StopBits = UART_STOPBITS_1;
  huart7.Init.Parity = UART_PARITY_NONE;
  huart7.Init.Mode = UART_MODE_TX_RX;
  huart7.Init.HwFlowCtl = UART_HWCONTROL_NONE;
  huart7.Init.OverSampling = UART_OVERSAMPLING_16;
  huart7.Init.OneBitSampling = UART_ONE_BIT_SAMPLE_DISABLE;
  huart7.Init.ClockPrescaler = UART_PRESCALER_DIV1;
  huart7.AdvancedInit.AdvFeatureInit = UART_ADVFEATURE_NO_INIT;
  if (HAL_UART_Init(&huart7) != HAL_OK)
  {
    Error_Handler();
  }
  if (HAL_UARTEx_SetTxFifoThreshold(&huart7, UART_TXFIFO_THRESHOLD_1_8) != HAL_OK)
  {
    Error_Handler();
  }
  if (HAL_UARTEx_SetRxFifoThreshold(&huart7, UART_RXFIFO_THRESHOLD_1_8) != HAL_OK)
  {
    Error_Handler();
  }
  if (HAL_UARTEx_DisableFifoMode(&huart7) != HAL_OK)
  {
    Error_Handler();
  }

}

static void MX_USART1_UART_Init(void)
{

  huart1.Instance = USART1;
  huart1.Init.BaudRate = 115200;
  huart1.Init.WordLength = UART_WORDLENGTH_8B;
  huart1.Init.StopBits = UART_STOPBITS_1;
  huart1.Init.Parity = UART_PARITY_NONE;
  huart1.Init.Mode = UART_MODE_TX_RX;
  huart1.Init.HwFlowCtl = UART_HWCONTROL_NONE;
  huart1.Init.OverSampling = UART_OVERSAMPLING_16;
  huart1.Init.OneBitSampling = UART_ONE_BIT_SAMPLE_DISABLE;
  huart1.Init.ClockPrescaler = UART_PRESCALER_DIV1;
  huart1.AdvancedInit.AdvFeatureInit = UART_ADVFEATURE_NO_INIT;
  if (HAL_UART_Init(&huart1) != HAL_OK)
  {
    Error_Handler();
  }
  if (HAL_UARTEx_SetTxFifoThreshold(&huart1, UART_TXFIFO_THRESHOLD_1_8) != HAL_OK)
  {
    Error_Handler();
  }
  if (HAL_UARTEx_SetRxFifoThreshold(&huart1, UART_RXFIFO_THRESHOLD_1_8) != HAL_OK)
  {
    Error_Handler();
  }
  if (HAL_UARTEx_DisableFifoMode(&huart1) != HAL_OK)
  {
    Error_Handler();
  }

}

static void MX_USART3_UART_Init(void)
{

  huart3.Instance = USART3;
  huart3.Init.BaudRate = 19200;
  huart3.Init.WordLength = UART_WORDLENGTH_8B;
  huart3.Init.StopBits = UART_STOPBITS_1;
  huart3.Init.Parity = UART_PARITY_NONE;
  huart3.Init.Mode = UART_MODE_TX_RX;
  huart3.Init.HwFlowCtl = UART_HWCONTROL_NONE;
  huart3.Init.OverSampling = UART_OVERSAMPLING_16;
  huart3.Init.OneBitSampling = UART_ONE_BIT_SAMPLE_DISABLE;
  huart3.Init.ClockPrescaler = UART_PRESCALER_DIV1;
  huart3.AdvancedInit.AdvFeatureInit = UART_ADVFEATURE_NO_INIT;
  if (HAL_UART_Init(&huart3) != HAL_OK)
  {
    Error_Handler();
  }
  if (HAL_UARTEx_SetTxFifoThreshold(&huart3, UART_TXFIFO_THRESHOLD_1_8) != HAL_OK)
  {
    Error_Handler();
  }
  if (HAL_UARTEx_SetRxFifoThreshold(&huart3, UART_RXFIFO_THRESHOLD_1_8) != HAL_OK)
  {
    Error_Handler();
  }
  if (HAL_UARTEx_DisableFifoMode(&huart3) != HAL_OK)
  {
    Error_Handler();
  }

}

static void MX_USART6_UART_Init(void)
{

  huart6.Instance = USART6;
  huart6.Init.BaudRate = 9600;
  huart6.Init.WordLength = UART_WORDLENGTH_8B;
  huart6.Init.StopBits = UART_STOPBITS_1;
  huart6.Init.Parity = UART_PARITY_NONE;
  huart6.Init.Mode = UART_MODE_TX_RX;
  huart6.Init.HwFlowCtl = UART_HWCONTROL_NONE;
  huart6.Init.OverSampling = UART_OVERSAMPLING_16;
  huart6.Init.OneBitSampling = UART_ONE_BIT_SAMPLE_DISABLE;
  huart6.Init.ClockPrescaler = UART_PRESCALER_DIV1;
  huart6.AdvancedInit.AdvFeatureInit = UART_ADVFEATURE_NO_INIT;
  if (HAL_UART_Init(&huart6) != HAL_OK)
  {
    Error_Handler();
  }
  if (HAL_UARTEx_SetTxFifoThreshold(&huart6, UART_TXFIFO_THRESHOLD_1_8) != HAL_OK)
  {
    Error_Handler();
  }
  if (HAL_UARTEx_SetRxFifoThreshold(&huart6, UART_RXFIFO_THRESHOLD_1_8) != HAL_OK)
  {
    Error_Handler();
  }
  if (HAL_UARTEx_DisableFifoMode(&huart6) != HAL_OK)
  {
    Error_Handler();
  }

}

static void MX_DMA_Init(void)
{

  /* DMA controller clock enable */
  __HAL_RCC_DMA1_CLK_ENABLE();
  __HAL_RCC_DMA2_CLK_ENABLE();

  /* DMA interrupt init */
  /* DMA1_Stream0_IRQn interrupt configuration */
  HAL_NVIC_SetPriority(DMA1_Stream0_IRQn, 0, 0);
  HAL_NVIC_EnableIRQ(DMA1_Stream0_IRQn);
  /* DMA1_Stream2_IRQn interrupt configuration */
  HAL_NVIC_SetPriority(DMA1_Stream2_IRQn, 0, 0);
  HAL_NVIC_EnableIRQ(DMA1_Stream2_IRQn);
  /* DMA1_Stream3_IRQn interrupt configuration */
  HAL_NVIC_SetPriority(DMA1_Stream3_IRQn, 0, 0);
  HAL_NVIC_EnableIRQ(DMA1_Stream3_IRQn);
  /* DMA2_Stream2_IRQn interrupt configuration */
  HAL_NVIC_SetPriority(DMA2_Stream2_IRQn, 0, 0);
  HAL_NVIC_EnableIRQ(DMA2_Stream2_IRQn);

}

static void MX_GPIO_Init(void)
{
  GPIO_InitTypeDef GPIO_InitStruct = {0};

  /* GPIO Ports Clock Enable */
  __HAL_RCC_GPIOC_CLK_ENABLE();
  __HAL_RCC_GPIOF_CLK_ENABLE();
  __HAL_RCC_GPIOA_CLK_ENABLE();
  __HAL_RCC_GPIOB_CLK_ENABLE();
  __HAL_RCC_GPIOG_CLK_ENABLE();
  __HAL_RCC_GPIOE_CLK_ENABLE();
  __HAL_RCC_GPIOD_CLK_ENABLE();

  /*Configure GPIO pin Output Level */
  HAL_GPIO_WritePin(GPIOA, passArm_Pin|gripperQ_Pin|gripperE_Pin|passHand_Pin, GPIO_PIN_RESET);

  /*Configure GPIO pin Output Level */
  HAL_GPIO_WritePin(GPIOC, GPIO_PIN_4, GPIO_PIN_RESET);

  /*Configure GPIO pin Output Level */
  HAL_GPIO_WritePin(GPIOB, GPIO_PIN_0|GPIO_PIN_1|GPIO_PIN_2|GPIO_PIN_13
                          |putQ_Pin|putE_Pin|GPIO_PIN_7, GPIO_PIN_RESET);

  /*Configure GPIO pin Output Level */
  HAL_GPIO_WritePin(GPIOG, GPIO_PIN_0|GPIO_PIN_2|GPIO_PIN_3|GPIO_PIN_4
                          |GPIO_PIN_5|GPIO_PIN_6|GPIO_PIN_8|leftArmDir_Pin
                          |rigtArmEn_Pin|rigtArmPul_Pin|leftArmEn_Pin|rigtArmDir_Pin, GPIO_PIN_RESET);

  /*Configure GPIO pin Output Level */
  HAL_GPIO_WritePin(GPIOE, legEn_Pin|leftArmPul_Pin, GPIO_PIN_RESET);

  /*Configure GPIO pin Output Level */
  HAL_GPIO_WritePin(GPIOD, GPIO_PIN_8|GPIO_PIN_10|legDir_Pin|legPul_Pin, GPIO_PIN_RESET);

  /*Configure GPIO pin : flashButton_Pin */
  GPIO_InitStruct.Pin = flashButton_Pin;
  GPIO_InitStruct.Mode = GPIO_MODE_INPUT;
  GPIO_InitStruct.Pull = GPIO_PULLUP;
  HAL_GPIO_Init(flashButton_GPIO_Port, &GPIO_InitStruct);

  /*Configure GPIO pin : PA0 */
  GPIO_InitStruct.Pin = GPIO_PIN_0;
  GPIO_InitStruct.Mode = GPIO_MODE_INPUT;
  GPIO_InitStruct.Pull = GPIO_PULLUP;
  HAL_GPIO_Init(GPIOA, &GPIO_InitStruct);

  /*Configure GPIO pins : passArm_Pin gripperQ_Pin gripperE_Pin passHand_Pin */
  GPIO_InitStruct.Pin = passArm_Pin|gripperQ_Pin|gripperE_Pin|passHand_Pin;
  GPIO_InitStruct.Mode = GPIO_MODE_OUTPUT_PP;
  GPIO_InitStruct.Pull = GPIO_NOPULL;
  GPIO_InitStruct.Speed = GPIO_SPEED_FREQ_LOW;
  HAL_GPIO_Init(GPIOA, &GPIO_InitStruct);

  /*Configure GPIO pin : PC4 */
  GPIO_InitStruct.Pin = GPIO_PIN_4;
  GPIO_InitStruct.Mode = GPIO_MODE_OUTPUT_PP;
  GPIO_InitStruct.Pull = GPIO_NOPULL;
  GPIO_InitStruct.Speed = GPIO_SPEED_FREQ_LOW;
  HAL_GPIO_Init(GPIOC, &GPIO_InitStruct);

  /*Configure GPIO pins : PB0 PB1 PB2 PB13
                           putQ_Pin putE_Pin PB7 */
  GPIO_InitStruct.Pin = GPIO_PIN_0|GPIO_PIN_1|GPIO_PIN_2|GPIO_PIN_13
                          |putQ_Pin|putE_Pin|GPIO_PIN_7;
  GPIO_InitStruct.Mode = GPIO_MODE_OUTPUT_PP;
  GPIO_InitStruct.Pull = GPIO_NOPULL;
  GPIO_InitStruct.Speed = GPIO_SPEED_FREQ_LOW;
  HAL_GPIO_Init(GPIOB, &GPIO_InitStruct);

  /*Configure GPIO pins : PG0 PG2 PG3 */
  GPIO_InitStruct.Pin = GPIO_PIN_0|GPIO_PIN_2|GPIO_PIN_3;
  GPIO_InitStruct.Mode = GPIO_MODE_OUTPUT_PP;
  GPIO_InitStruct.Pull = GPIO_PULLUP;
  GPIO_InitStruct.Speed = GPIO_SPEED_FREQ_LOW;
  HAL_GPIO_Init(GPIOG, &GPIO_InitStruct);

  /*Configure GPIO pin : legEn_Pin */
  GPIO_InitStruct.Pin = legEn_Pin;
  GPIO_InitStruct.Mode = GPIO_MODE_OUTPUT_PP;
  GPIO_InitStruct.Pull = GPIO_NOPULL;
  GPIO_InitStruct.Speed = GPIO_SPEED_FREQ_LOW;
  HAL_GPIO_Init(legEn_GPIO_Port, &GPIO_InitStruct);

  /*Configure GPIO pin : flashSwitch_Pin */
  GPIO_InitStruct.Pin = flashSwitch_Pin;
  GPIO_InitStruct.Mode = GPIO_MODE_INPUT;
  GPIO_InitStruct.Pull = GPIO_PULLUP;
  HAL_GPIO_Init(flashSwitch_GPIO_Port, &GPIO_InitStruct);

  /*Configure GPIO pins : PD8 PD10 legDir_Pin */
  GPIO_InitStruct.Pin = GPIO_PIN_8|GPIO_PIN_10|legDir_Pin;
  GPIO_InitStruct.Mode = GPIO_MODE_OUTPUT_PP;
  GPIO_InitStruct.Pull = GPIO_NOPULL;
  GPIO_InitStruct.Speed = GPIO_SPEED_FREQ_LOW;
  HAL_GPIO_Init(GPIOD, &GPIO_InitStruct);

  /*Configure GPIO pin : legPul_Pin */
  GPIO_InitStruct.Pin = legPul_Pin;
  GPIO_InitStruct.Mode = GPIO_MODE_OUTPUT_PP;
  GPIO_InitStruct.Pull = GPIO_NOPULL;
  GPIO_InitStruct.Speed = GPIO_SPEED_FREQ_VERY_HIGH;
  HAL_GPIO_Init(legPul_GPIO_Port, &GPIO_InitStruct);

  /*Configure GPIO pins : PG4 PG5 PG6 PG8 */
  GPIO_InitStruct.Pin = GPIO_PIN_4|GPIO_PIN_5|GPIO_PIN_6|GPIO_PIN_8;
  GPIO_InitStruct.Mode = GPIO_MODE_OUTPUT_PP;
  GPIO_InitStruct.Pull = GPIO_NOPULL;
  GPIO_InitStruct.Speed = GPIO_SPEED_FREQ_VERY_HIGH;
  HAL_GPIO_Init(GPIOG, &GPIO_InitStruct);

  /*Configure GPIO pins : leftArmDir_Pin rigtArmEn_Pin rigtArmPul_Pin leftArmEn_Pin
                           rigtArmDir_Pin */
  GPIO_InitStruct.Pin = leftArmDir_Pin|rigtArmEn_Pin|rigtArmPul_Pin|leftArmEn_Pin
                          |rigtArmDir_Pin;
  GPIO_InitStruct.Mode = GPIO_MODE_OUTPUT_PP;
  GPIO_InitStruct.Pull = GPIO_NOPULL;
  GPIO_InitStruct.Speed = GPIO_SPEED_FREQ_LOW;
  HAL_GPIO_Init(GPIOG, &GPIO_InitStruct);

  /*Configure GPIO pin : leftArmPul_Pin */
  GPIO_InitStruct.Pin = leftArmPul_Pin;
  GPIO_InitStruct.Mode = GPIO_MODE_OUTPUT_PP;
  GPIO_InitStruct.Pull = GPIO_NOPULL;
  GPIO_InitStruct.Speed = GPIO_SPEED_FREQ_VERY_HIGH;
  HAL_GPIO_Init(leftArmPul_GPIO_Port, &GPIO_InitStruct);

}

void Error_Handler(void)
{
}

/************************ (C) COPYRIGHT STMicroelectronics *****END OF FILE****/
